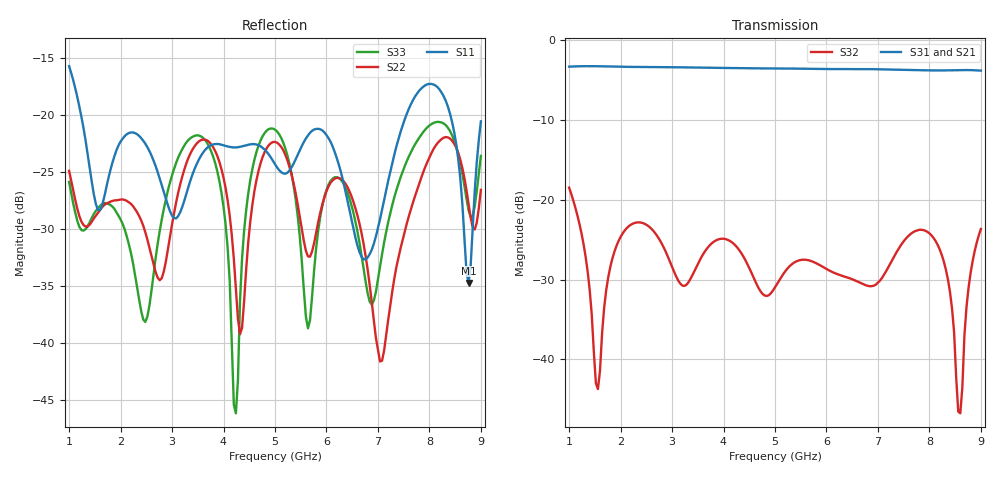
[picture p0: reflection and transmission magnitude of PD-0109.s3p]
! MARKI MICROWAVE INC.
! Email:  info@markimicrowave.com  Phone:  408-778-4200
! Model Number:  PD0109  Date:  07/11
! Filename:		PD-0109.S3P  Version: 1.0
! Description:  3-port S-parameter data for Power Divider PD0109
! Frequency Range: 	1 GHz to 9 GHz
! Port Configuration:	PORT 1: COMMON, PORT 2 and Port 3: Output
! S3P File: Measurements: Mag<S11> Ang<S11> Mag<S12> Ang<S12> Mag<S13> Ang<S13>! row 1
!  Mag<S21> Ang<S21> Mag<S22> Ang<S22> Mag<S23> Ang<S23>! row 2
!  Mag<S31> Ang<S31> Mag<S32> Ang<S32> Mag<S33> Ang<S33>! row 3
# GHz S DB R 50
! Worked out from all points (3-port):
!   197 points, 1 GHz to 9 GHz, reference 50 ohm
!   strongest paths, dB at 1 GHz, 2.96 GHz, 4.92 GHz, 6.88 GHz, 9 GHz:
!     S31: -3.3, -3.4, -3.5, -3.6, -3.8
!     S21: -3.4, -3.5, -3.6, -3.7, -4.0
!     S32: -18.5, -27.8, -31.7, -30.8, -23.7
!   lowest |S11| = -34.7 dB at 8.76 GHz (marker M1), VSWR 1.04, Z = 48.5 + j0.989 ohm
!   |S11| at or under -10 dB: start of sweep to end of sweep
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1  -15.68 46.2  -3.37 -133.5  -3.31 -133.3
   -3.37 -133.5  -24.87 -104.4  -18.48 -145.7
   -3.31 -133.3  -18.48 -145.7  -25.85 -102.1
1.56  -28.28 44.3  -3.32 150.1  -3.26 150.4
      -3.33 150.1  -28.55 80.6  -43.70 -107.6
      -3.26 150.4  -43.74 -107.2  -28.15 84.0
2.68  -24.44 -22.1  -3.44 -1.2  -3.37 -0.8
      -3.45 -1.2  -33.74 -174.1  -24.25 -155.7
      -3.37 -0.8  -24.26 -155.7  -32.55 124.2
3.72  -22.72 -26.3  -3.53 -141.6  -3.46 -141.1
      -3.53 -141.6  -22.33 -58.3  -25.79 -162.4
      -3.46 -141.1  -25.80 -162.3  -22.74 -49.7
4.24  -22.81 -40.0  -3.57 148.3  -3.49 148.8
      -3.57 148.3  -35.16 -94.6  -25.78 149.4
      -3.49 148.9  -25.79 149.6  -46.14 137.0
5  -24.29 -50.1  -3.62 45.6  -3.54 46.4
   -3.62 45.6  -22.33 -45.6  -30.97 150.5
   -3.54 46.4  -30.97 150.6  -21.25 -26.1
6.04  -22.00 -82.2  -3.72 -95.1  -3.61 -94.2
      -3.73 -95.0  -26.23 53.1  -28.81 98.7
      -3.61 -94.2  -28.82 98.8  -26.08 55.2
7.44  -21.44 -120.1  -3.81 74.4  -3.69 75.3
      -3.81 74.4  -31.65 94.6  -25.76 79.3
      -3.69 75.3  -25.75 79.2  -25.43 74.5
8.76  -34.70 146.4  -3.89 -106.5  -3.74 -105.4
      -3.90 -106.5  -27.74 -65.6  -31.06 94.1
      -3.74 -105.4  -31.05 94.1  -28.31 -37.4
9  -20.53 -166.3  -3.96 -140.2  -3.81 -139.1
   -3.96 -140.2  -26.53 -0.9  -23.66 60.8
   -3.81 -139.2  -23.66 60.8  -23.55 16.3
